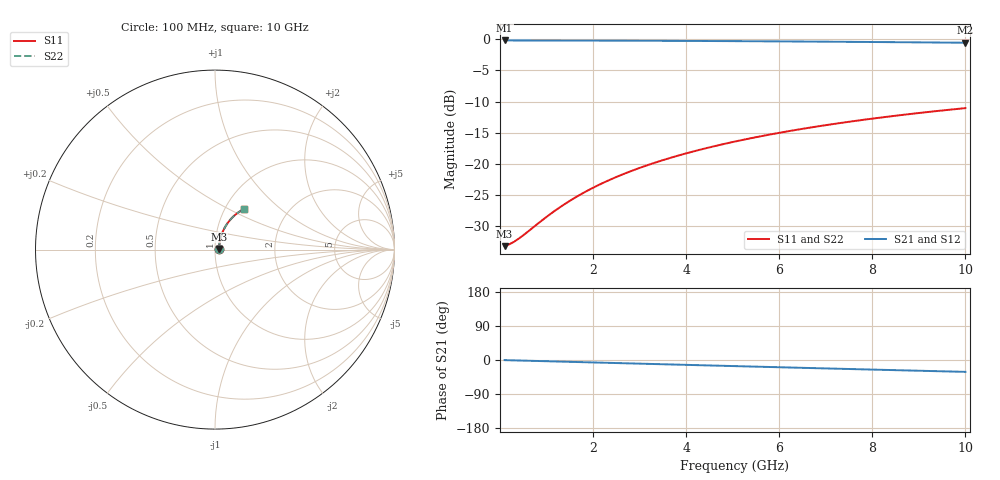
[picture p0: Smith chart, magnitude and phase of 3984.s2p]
# Hz S RI R 50.00
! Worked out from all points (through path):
!   100 points, 100 MHz to 10 GHz, reference 50 ohm
!   highest |S21| = -0.19 dB at 100 MHz (marker M1); lowest = -0.6 dB at 10 GHz (marker M2)
!   group delay of S21, straight-line fit = 8.71 ps
!   lowest |S11| = -33.2 dB at 100 MHz (marker M3), VSWR 1.04, Z = 52.2 + j0.304 ohm
!   |S11| at or under -10 dB: start of sweep to end of sweep
!   |S22| runs from -33.2 to -11.0 dB; largest |S21 - S12| = 0
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1e8  0.0217 0.00291  0.9783 -0.0055  0.9783 -0.0055  0.0217 0.00291
2e8  0.0219 0.00581  0.9781 -0.011  0.9781 -0.011  0.0219 0.00581
3e8  0.0221 0.00871  0.9779 -0.0165  0.9779 -0.0165  0.0221 0.00871
4e8  0.0223 0.0116  0.9777 -0.022  0.9777 -0.022  0.0223 0.0116
1e9  0.024 0.0289  0.9757 -0.0549  0.9757 -0.0549  0.024 0.0289
1.2e9  0.0248 0.0347  0.9747 -0.0658  0.9747 -0.0658  0.0248 0.0347
1.5e9  0.0262 0.0432  0.973 -0.0821  0.973 -0.0821  0.0262 0.0432
1.8e9  0.0279 0.0518  0.971 -0.0984  0.971 -0.0984  0.0279 0.0518
2.1e9  0.0299 0.0602  0.9686 -0.1147  0.9686 -0.1147  0.0299 0.0602
2.5e9  0.0329 0.0713  0.9649 -0.1362  0.9649 -0.1362  0.0329 0.0713
2.9e9  0.0365 0.0823  0.9606 -0.1575  0.9606 -0.1575  0.0365 0.0823
3.4e9  0.0416 0.0957  0.9544 -0.1839  0.9544 -0.1839  0.0416 0.0957
3.8e9  0.0461 0.1062  0.9488 -0.2048  0.9488 -0.2048  0.0461 0.1062
4.2e9  0.0512 0.1165  0.9427 -0.2254  0.9427 -0.2254  0.0512 0.1165
4.6e9  0.0567 0.1264  0.936 -0.2458  0.936 -0.2458  0.0567 0.1264
5.1e9  0.0641 0.1385  0.9269 -0.2709  0.9269 -0.2709  0.0641 0.1385
5.9e9  0.0772 0.1569  0.9107 -0.31  0.9107 -0.31  0.0772 0.1569
6.7e9  0.0918 0.1738  0.8926 -0.3478  0.8926 -0.3478  0.0918 0.1738
7.5e9  0.1077 0.1894  0.8728 -0.3841  0.8728 -0.3841  0.1077 0.1894
8.4e9  0.1269 0.2049  0.8486 -0.4232  0.8486 -0.4232  0.1269 0.2049
9.2e9  0.145 0.2171  0.8256 -0.4561  0.8256 -0.4561  0.145 0.2171
1e10  0.1638 0.2275  0.8013 -0.4875  0.8013 -0.4875  0.1638 0.2275
